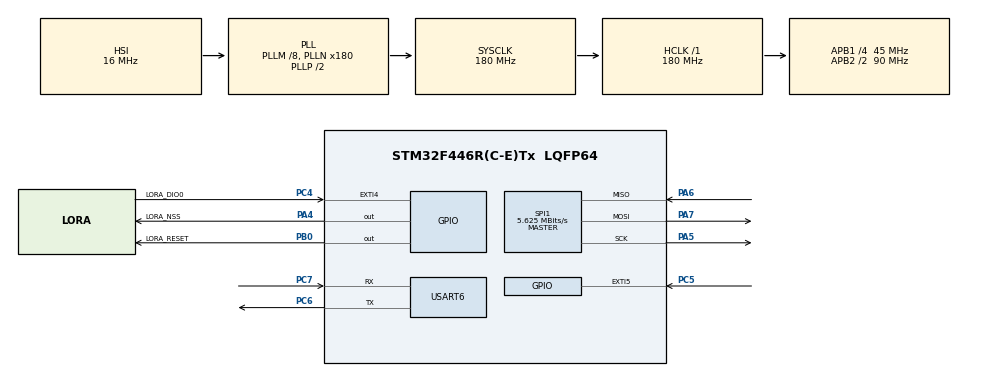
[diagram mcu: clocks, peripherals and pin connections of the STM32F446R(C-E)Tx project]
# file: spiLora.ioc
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Mcu.Family=STM32F4
Mcu.Name=STM32F446R(C-E)Tx
Mcu.Package=LQFP64
NVIC.EXTI4_IRQn=true\:0\:0\:false\:false\:true\:true\:true\:true
NVIC.EXTI9_5_IRQn=true\:0\:0\:false\:false\:true\:true\:true\:true
NVIC.PriorityGroup=NVIC_PRIORITYGROUP_4
PA13.Mode=Serial_Wire
PA13.Signal=SYS_JTMS-SWDIO
PA14.Mode=Serial_Wire
PA14.Signal=SYS_JTCK-SWCLK
PA4.GPIO_Label=LORA_NSS
PA4.Signal=GPIO_Output
PA5.Mode=Full_Duplex_Master
PA5.Signal=SPI1_SCK
PA6.Mode=Full_Duplex_Master
PA6.Signal=SPI1_MISO
PA7.Mode=Full_Duplex_Master
PA7.Signal=SPI1_MOSI
PB0.GPIO_Label=LORA_RESET
PB0.Signal=GPIO_Output
PC4.GPIO_Label=LORA_DIO0
PC4.Signal=GPXTI4
PC5.Signal=GPXTI5
PC6.Mode=Asynchronous
PC6.Signal=USART6_TX
PC7.Mode=Asynchronous
PC7.Signal=USART6_RX
PH0-OSC_IN.Mode=HSE-External-Oscillator
PH0-OSC_IN.Signal=RCC_OSC_IN
PH1-OSC_OUT.Mode=HSE-External-Oscillator
PH1-OSC_OUT.Signal=RCC_OSC_OUT
ProjectManager.HeapSize=0x200
ProjectManager.StackSize=0x400
ProjectManager.TargetToolchain=STM32CubeIDE
RCC.AHBFreq_Value=180000000
RCC.APB1CLKDivider=RCC_HCLK_DIV4
RCC.APB1Freq_Value=45000000
RCC.APB1TimFreq_Value=90000000
RCC.APB2CLKDivider=RCC_HCLK_DIV2
RCC.APB2Freq_Value=90000000
RCC.APB2TimFreq_Value=180000000
RCC.CortexFreq_Value=180000000
RCC.HCLKFreq_Value=180000000
RCC.HSE_VALUE=8000000
RCC.PLLM=8
RCC.PLLN=180
RCC.PLLQ=3
RCC.SYSCLKFreq_VALUE=180000000
RCC.SYSCLKSource=RCC_SYSCLKSOURCE_PLLCLK
RCC.USBFreq_Value=120000000
RCC.VCOOutputFreq_Value=360000000
SPI1.BaudRatePrescaler=SPI_BAUDRATEPRESCALER_16
SPI1.CalculateBaudRate=5.625 MBits/s
SPI1.Direction=SPI_DIRECTION_2LINES
SPI1.Mode=SPI_MODE_MASTER
SPI1.VirtualType=VM_MASTER
USART6.VirtualMode=VM_ASYNC
board=custom

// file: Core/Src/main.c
/* USER CODE BEGIN Header */
/**
  ******************************************************************************
  * @file           : main.c
  * @brief          : Main program body
  ******************************************************************************
  * @attention
  *
  * Copyright (c) 2025 STMicroelectronics.
  * All rights reserved.
  *
  * This software is licensed under terms that can be found in the LICENSE file
  * in the root directory of this software component.
  * If no LICENSE file comes with this software, it is provided AS-IS.
  *
  ******************************************************************************
  */
/* USER CODE END Header */
#include "main.h"

/* USER CODE BEGIN Includes */
#include <stdio.h>  // sprintf için gerekli
#include <string.h> // strlen için gerekli
/* USER CODE END Includes */

SPI_HandleTypeDef hspi1;

UART_HandleTypeDef huart6;

/* USER CODE BEGIN PV */

char tx_buffer[256];

/* USER CODE END PV */

void SystemClock_Config(void);
static void MX_GPIO_Init(void);
static void MX_SPI1_Init(void);
static void MX_USART6_UART_Init(void);

/* USER CODE BEGIN 0 */

/* Private variables ---------------------------------------------------------*/
SPI_HandleTypeDef hspi1;

/* USER CODE BEGIN PV */
// Bu satır, projenin başka yerlerinde tanımlanan SPI1 yapılandırmasını
// bu dosyada kullanabilmemizi sağlar. CubeIDE bunu otomatik oluşturur.
extern SPI_HandleTypeDef hspi1;
/* USER CODE END PV */

/* Private defines -----------------------------------------------------------*/
/* USER CODE BEGIN PD */
// Bu tanımlamalar, RFM98W modülünün (içindeki SX1278 çipi) datasheet'inden alınmıştır.
// Karmaşık register adreslerini ezberlemek yerine onlara isim vererek kod okunabilirliğini artırırız.

// RFM98W Register Adresleri
#define REG_VERSION              0x42 // Versiyon bilgisi için
#define REG_OP_MODE              0x01 // Çalışma modunu ayarlamak için
#define REG_FRF_MSB              0x06 // Frekans ayarı (En anlamlı byte)
#define REG_FRF_MID              0x07 // Frekans ayarı (Orta byte)
#define REG_FRF_LSB              0x08 // Frekans ayarı (En anlamsız byte)
#define REG_DIO_MAPPING_1        0x40 // DIO pinlerinin görevlerini atamak için

// RFM98W Çalışma Modları
#define MODE_SLEEP               0x80 // Uyku modu (LoRa modunda)
#define MODE_STDBY               0x81 // Bekleme modu (LoRa modunda)
#define MODE_TX                  0x83 // Gönderme modu (LoRa modunda)
#define MODE_RX_CONTINUOUS       0x85 // Sürekli dinleme modu (LoRa modunda)

// Sadece Alıcı (Receiver) için Gerekli Register'lar
#define REG_RX_NB_BYTES          0x13 // Alınan paketteki byte sayısını tutar
#define REG_FIFO_RX_CURRENT_ADDR 0x10 // Alınan son paketin FIFO'daki başlangıç adresini tutar
#define REG_PKT_SNR_VALUE        0x19 // Sinyal-Gürültü Oranı
#define REG_PKT_RSSI_VALUE       0x1A // Sinyal Gücü

#define REG_FIFO_ADDR_PTR 0x0D
#define REG_FIFO_RX_CURRENT_ADDR 0x10
#define REG_FIFO 0x00
#define REG_IRQ_FLAGS            0x12

// Tablo 3.35'e göre 60 byte'lık Telemetri Veri Paketi Yapısı
typedef struct __attribute__((packed)) {
    uint16_t packet_number;            // 2 byte
    uint8_t  flight_state;             // 1 byte

    // OBC Verileri
    int16_t  obc_roll;                 // 2 byte
    int16_t  obc_pitch;                // 2 byte
    int16_t  obc_yaw;                  // 2 byte
    uint8_t  obc_abs_acceleration;     // 1 byte
    uint8_t  obc_max_abs_acceleration; // 1 byte
    uint8_t  obc_pressure;             // 1 byte
    int16_t  obc_vertical_velocity;    // 2 byte
    int16_t  obc_altitude;             // 2 byte
    int16_t  obc_max_altitude;         // 2 byte
    int8_t   obc_temperature;          // 1 byte

    // BPC Verileri
    int16_t  bpc_roll;                 // 2 byte
    int16_t  bpc_pitch;                // 2 byte
    int16_t  bpc_yaw;                  // 2 byte
    uint8_t  bpc_abs_acceleration;     // 1 byte
    uint8_t  bpc_max_abs_acceleration; // 1 byte
    uint8_t  bpc_pressure;             // 1 byte
    int16_t  bpc_vertical_velocity;    // 2 byte
    int16_t  bpc_altitude;             // 2 byte
    int16_t  bpc_max_altitude;         // 2 byte

    // DAQ Verileri
    uint16_t daq_pressure_1;           // 2 byte
    uint16_t daq_pressure_2;           // 2 byte
    int16_t  daq_temperature;          // 2 byte

    // PRC Verileri
    int16_t  prc_current;              // 2 byte
    int16_t  prc_voltage;              // 2 byte

    // GPS ve Sistem Zamanı
    uint32_t system_time;              // 4 byte
    float    latitude;                 // 4 byte
    float    longitude;                // 4 byte
    uint32_t gps_utc_time;             // 4 byte
} TelemetryPacket_t;

volatile uint8_t rx_done_flag = 0;

TelemetryPacket_t received_data;

void RFM98_Reset()
{
  // Reset pinini 1ms boyunca LOW'a çek
  HAL_GPIO_WritePin(LORA_RESET_GPIO_Port, LORA_RESET_Pin, GPIO_PIN_RESET);
  HAL_Delay(1);
  // Reset pinini HIGH'a çekerek modülün normal çalışmasına izin ver
  HAL_GPIO_WritePin(LORA_RESET_GPIO_Port, LORA_RESET_Pin, GPIO_PIN_SET);
  HAL_Delay(5); // Modülün kendine gelmesi için kısa bir bekleme
}

void RFM98_Write(uint8_t address, uint8_t value)
{
  // Yazma işlemi için adresin en anlamlı bitini (MSB) 1 yapmamız gerekiyor.
  // Bu, SX1278 datasheet'inde belirtilen bir kuraldır.
  uint8_t write_address = address | 0x80;

  // 1. NSS pinini LOW'a çekerek LoRa modülüyle haberleşmeyi başlat.
  HAL_GPIO_WritePin(LORA_NSS_GPIO_Port, LORA_NSS_Pin, GPIO_PIN_RESET);

  // 2. Önce yazılacak register'ın adresini gönder.
  HAL_SPI_Transmit(&hspi1, &write_address, 1, HAL_MAX_DELAY);

  // 3. Sonra o adrese yazılacak veriyi gönder.
  HAL_SPI_Transmit(&hspi1, &value, 1, HAL_MAX_DELAY);

  // 4. NSS pinini HIGH'a çekerek haberleşmeyi sonlandır.
  HAL_GPIO_WritePin(LORA_NSS_GPIO_Port, LORA_NSS_Pin, GPIO_PIN_SET);
}

uint8_t RFM98_Read(uint8_t address)
{
  // Okuma işlemi için adresin en anlamlı bitini (MSB) 0 yapmamız gerekiyor.
  // Bu, SX1278 datasheet'inde belirtilen bir kuraldır.
  uint8_t read_address = address & 0x7F;
  uint8_t received_data;

  // 1. NSS pinini LOW'a çekerek LoRa modülüyle haberleşmeyi başlat.
  HAL_GPIO_WritePin(LORA_NSS_GPIO_Port, LORA_NSS_Pin, GPIO_PIN_RESET);

  // 2. Önce okunacak register'ın adresini gönder.
  HAL_SPI_Transmit(&hspi1, &read_address, 1, HAL_MAX_DELAY);

  // 3. Veriyi okumak için STM32'den anlamsız bir veri (0x00) gönderilir.
  //    Bu gönderim sırasında MISO hattından gelen veri okunur.
  HAL_SPI_Receive(&hspi1, &received_data, 1, HAL_MAX_DELAY);

  // 4. NSS pinini HIGH'a çekerek haberleşmeyi sonlandır.
  HAL_GPIO_WritePin(LORA_NSS_GPIO_Port, LORA_NSS_Pin, GPIO_PIN_SET);

  return received_data;
}

uint8_t LoRa_Init()
{
  // Modülü resetle
  RFM98_Reset();

  // 1. İletişimi doğrula: Versiyon numarasını kontrol et
  if (RFM98_Read(REG_VERSION) != 0x12)
  {
    return 0; // Hata: Modül bulunamadı veya SPI çalışmıyor
  }

  // 2. Modülü yapılandırmak için ayarları YAZmaya başla

  // Ayarları değiştirebilmek için önce Uyku (Sleep) moduna al.
  // Bu bir datasheet kuralıdır: LoRa modu ayarları sadece uyku modunda değiştirilebilir.
  RFM98_Write(REG_OP_MODE, MODE_SLEEP);
  HAL_Delay(10); // Modun değişmesi için kısa bir bekleme

  // Frekansı ayarla (Örnek: 868 MHz)
  // Bu hex değerleri datasheet'teki formülle hesaplanır: Freq = F_STEP * Değer
  // F_STEP = 32MHz / 2^19 ≈ 61.035 Hz
  // Frekansı 433 MHz'e ayarla
  // Hesaplama: 433,000,000 / 61.035 ≈ 7094272 = 0x6C8000
  RFM98_Write(REG_FRF_MSB, 0x6C); // 433 MHz için MSB
  RFM98_Write(REG_FRF_MID, 0x80); // 433 MHz için MID
  RFM98_Write(REG_FRF_LSB, 0x00); // 433 MHz için LSB
  // Diğer temel ayarlar... (Şimdilik standart değerleri kullanabiliriz)
  // - Çıkış gücü: +17dBm
  // - Spreading Factor: 7, Bandwidth: 125kHz (En yaygın ayarlardan biri)
  // - CRC Aktif
  RFM98_Write(0x09, 0xFF); // RegPaConfig -> PA_BOOST, MaxPower, OutputPower
  RFM98_Write(0x1D, 0x72); // RegModemConfig1 -> BW=125kHz, CR=4/5
  RFM98_Write(0x1E, 0x74); // RegModemConfig2 -> SF=7, CRC On
  RFM98_Write(0x26, 0x04); // RegModemConfig3 -> AgcAutoOn

  RFM98_Write(REG_DIO_MAPPING_1,  0x00);

  // Ayarları bitirdikten sonra, bir sonraki komuta hazır olması için Bekleme (Standby) moduna al.
  RFM98_Write(REG_OP_MODE, MODE_STDBY);
  HAL_Delay(10);

  return 1; // Başlatma başarılı
}

/**
  * @brief  Verilen metin mesajını LoRa ile gönderir.
  * @param  message: Gönderilecek karakter dizisi (string).
  */

void LoRa_ReceiveMode()
{
  // DIO0 pinini RxDone kesmesi için ayarla (Init fonksiyonunda zaten yapıldı)
  // RFM98_Write(REG_DIO_MAPPING_1, 0x00);

  // Modülü Sürekli Alım moduna geçir
  RFM98_Write(REG_OP_MODE, MODE_RX_CONTINUOUS);
}

void LoRa_ReadPacket()
{
  // 1. Alınan paketin boyutunu kontrol et
  uint8_t packet_size = RFM98_Read(REG_RX_NB_BYTES);
  if (packet_size != sizeof(TelemetryPacket_t))
  {
      // Hatalı boyutta paket geldi, işlemi iptal et
      return;
  }

  // 2. FIFO okuma başlangıç adresini al
  uint8_t current_fifo_addr = RFM98_Read(REG_FIFO_RX_CURRENT_ADDR);

  // 3. FIFO işaretçisini bu adrese ayarla
  RFM98_Write(REG_FIFO_ADDR_PTR, current_fifo_addr);

  // 4. FIFO'dan veriyi byte byte oku ve struct'a kopyala
  uint8_t* data_ptr = (uint8_t*)&received_data;
  for (int i = 0; i < packet_size; i++)
  {
      data_ptr[i] = RFM98_Read(REG_FIFO);
  }
}

/* USER CODE END 0 */

int main(void)
{

  /* MCU Configuration--------------------------------------------------------*/

  /* Reset of all peripherals, Initializes the Flash interface and the Systick. */
  HAL_Init();

  /* Configure the system clock */
  SystemClock_Config();

  /* Initialize all configured peripherals */
  MX_GPIO_Init();
  MX_SPI1_Init();
  MX_USART6_UART_Init();
  /* USER CODE BEGIN 2 */

  // LoRa modülünü başlat
  if (LoRa_Init() == 0)
  {
    // Hata durumunda terminale mesaj gönder
    int len = sprintf(tx_buffer, "HATA: LoRa modülü başlatılamadı!\r\n");
    HAL_UART_Transmit(&huart6, (uint8_t*)tx_buffer, len, HAL_MAX_DELAY);
    while(1); // Hata durumunda burada bekle
  }

  // Terminale başlangıç mesajı gönderelim
  int len = sprintf(tx_buffer, "LoRa Alıcı Başlatıldı. Veri bekleniyor...\r\n");
  HAL_UART_Transmit(&huart6, (uint8_t*)tx_buffer, len, HAL_MAX_DELAY);

  // LoRa'yı dinleme moduna al
  LoRa_ReceiveMode();

  /* USER CODE END 2 */

  /* Infinite loop */
  while (1)
  {
    /* USER CODE BEGIN 3 */

    // Bir paket geldi mi diye kontrol et
    if (rx_done_flag)
    {
      // Bayrağı hemen sıfırla ki aynı paketi tekrar işlemeyelim
      rx_done_flag = 0;

      // 1. Gelen verileri sprintf ile buffer'a yazdır
      int message_len = 0;
      message_len += sprintf(tx_buffer + message_len, "--- YENI PAKET ALINDI ---\r\n");
      message_len += sprintf(tx_buffer + message_len, "Paket No: %u\r\n", received_data.packet_number);
      message_len += sprintf(tx_buffer + message_len, "Uçuş Durumu: %u\r\n", received_data.flight_state);
      message_len += sprintf(tx_buffer + message_len, "PRC Voltaj: %.2f V\r\n", received_data.prc_voltage / 100.0);
      message_len += sprintf(tx_buffer + message_len, "Enlem: %f\r\n", received_data.latitude);
      message_len += sprintf(tx_buffer + message_len, "-------------------------\r\n\r\n");

      // 2. Dolu olan buffer'ı tek seferde UART üzerinden gönder
      HAL_UART_Transmit(&huart6, (uint8_t*)tx_buffer, message_len, HAL_MAX_DELAY);

      // 3. Bir sonraki paketi almak için tekrar dinleme moduna geç
      LoRa_ReceiveMode();
    }
    // Bayrak 1 değilse, işlemci burada bekleyebilir veya başka işler yapabilir.

  }
  /* USER CODE END 3 */
}

void SystemClock_Config(void)
{
  RCC_OscInitTypeDef RCC_OscInitStruct = {0};
  RCC_ClkInitTypeDef RCC_ClkInitStruct = {0};

  /** Configure the main internal regulator output voltage
  */
  __HAL_RCC_PWR_CLK_ENABLE();
  __HAL_PWR_VOLTAGESCALING_CONFIG(PWR_REGULATOR_VOLTAGE_SCALE1);

  /** Initializes the RCC Oscillators according to the specified parameters
  * in the RCC_OscInitTypeDef structure.
  */
  RCC_OscInitStruct.OscillatorType = RCC_OSCILLATORTYPE_HSI;
  RCC_OscInitStruct.HSIState = RCC_HSI_ON;
  RCC_OscInitStruct.HSICalibrationValue = RCC_HSICALIBRATION_DEFAULT;
  RCC_OscInitStruct.PLL.PLLState = RCC_PLL_ON;
  RCC_OscInitStruct.PLL.PLLSource = RCC_PLLSOURCE_HSI;
  RCC_OscInitStruct.PLL.PLLM = 8;
  RCC_OscInitStruct.PLL.PLLN = 180;
  RCC_OscInitStruct.PLL.PLLP = RCC_PLLP_DIV2;
  RCC_OscInitStruct.PLL.PLLQ = 3;
  RCC_OscInitStruct.PLL.PLLR = 2;
  if (HAL_RCC_OscConfig(&RCC_OscInitStruct) != HAL_OK)
  {
    Error_Handler();
  }

  /** Activate the Over-Drive mode
  */
  if (HAL_PWREx_EnableOverDrive() != HAL_OK)
  {
    Error_Handler();
  }

  /** Initializes the CPU, AHB and APB buses clocks
  */
  RCC_ClkInitStruct.ClockType = RCC_CLOCKTYPE_HCLK|RCC_CLOCKTYPE_SYSCLK
                              |RCC_CLOCKTYPE_PCLK1|RCC_CLOCKTYPE_PCLK2;
  RCC_ClkInitStruct.SYSCLKSource = RCC_SYSCLKSOURCE_PLLCLK;
  RCC_ClkInitStruct.AHBCLKDivider = RCC_SYSCLK_DIV1;
  RCC_ClkInitStruct.APB1CLKDivider = RCC_HCLK_DIV4;
  RCC_ClkInitStruct.APB2CLKDivider = RCC_HCLK_DIV2;

  if (HAL_RCC_ClockConfig(&RCC_ClkInitStruct, FLASH_LATENCY_5) != HAL_OK)
  {
    Error_Handler();
  }
}

static void MX_SPI1_Init(void)
{

  /* SPI1 parameter configuration*/
  hspi1.Instance = SPI1;
  hspi1.Init.Mode = SPI_MODE_MASTER;
  hspi1.Init.Direction = SPI_DIRECTION_2LINES;
  hspi1.Init.DataSize = SPI_DATASIZE_8BIT;
  hspi1.Init.CLKPolarity = SPI_POLARITY_LOW;
  hspi1.Init.CLKPhase = SPI_PHASE_1EDGE;
  hspi1.Init.NSS = SPI_NSS_SOFT;
  hspi1.Init.BaudRatePrescaler = SPI_BAUDRATEPRESCALER_16;
  hspi1.Init.FirstBit = SPI_FIRSTBIT_MSB;
  hspi1.Init.TIMode = SPI_TIMODE_DISABLE;
  hspi1.Init.CRCCalculation = SPI_CRCCALCULATION_DISABLE;
  hspi1.Init.CRCPolynomial = 10;
  if (HAL_SPI_Init(&hspi1) != HAL_OK)
  {
    Error_Handler();
  }

}

static void MX_USART6_UART_Init(void)
{

  huart6.Instance = USART6;
  huart6.Init.BaudRate = 115200;
  huart6.Init.WordLength = UART_WORDLENGTH_8B;
  huart6.Init.StopBits = UART_STOPBITS_1;
  huart6.Init.Parity = UART_PARITY_NONE;
  huart6.Init.Mode = UART_MODE_TX_RX;
  huart6.Init.HwFlowCtl = UART_HWCONTROL_NONE;
  huart6.Init.OverSampling = UART_OVERSAMPLING_16;
  if (HAL_UART_Init(&huart6) != HAL_OK)
  {
    Error_Handler();
  }

}

static void MX_GPIO_Init(void)
{
  GPIO_InitTypeDef GPIO_InitStruct = {0};

  /* GPIO Ports Clock Enable */
  __HAL_RCC_GPIOH_CLK_ENABLE();
  __HAL_RCC_GPIOA_CLK_ENABLE();
  __HAL_RCC_GPIOC_CLK_ENABLE();
  __HAL_RCC_GPIOB_CLK_ENABLE();

  /*Configure GPIO pin Output Level */
  HAL_GPIO_WritePin(LORA_NSS_GPIO_Port, LORA_NSS_Pin, GPIO_PIN_RESET);

  /*Configure GPIO pin Output Level */
  HAL_GPIO_WritePin(LORA_RESET_GPIO_Port, LORA_RESET_Pin, GPIO_PIN_RESET);

  /*Configure GPIO pin : LORA_NSS_Pin */
  GPIO_InitStruct.Pin = LORA_NSS_Pin;
  GPIO_InitStruct.Mode = GPIO_MODE_OUTPUT_PP;
  GPIO_InitStruct.Pull = GPIO_NOPULL;
  GPIO_InitStruct.Speed = GPIO_SPEED_FREQ_LOW;
  HAL_GPIO_Init(LORA_NSS_GPIO_Port, &GPIO_InitStruct);

  /*Configure GPIO pins : LORA_DIO0_Pin PC5 */
  GPIO_InitStruct.Pin = LORA_DIO0_Pin|GPIO_PIN_5;
  GPIO_InitStruct.Mode = GPIO_MODE_IT_RISING;
  GPIO_InitStruct.Pull = GPIO_NOPULL;
  HAL_GPIO_Init(GPIOC, &GPIO_InitStruct);

  /*Configure GPIO pin : LORA_RESET_Pin */
  GPIO_InitStruct.Pin = LORA_RESET_Pin;
  GPIO_InitStruct.Mode = GPIO_MODE_OUTPUT_PP;
  GPIO_InitStruct.Pull = GPIO_NOPULL;
  GPIO_InitStruct.Speed = GPIO_SPEED_FREQ_LOW;
  HAL_GPIO_Init(LORA_RESET_GPIO_Port, &GPIO_InitStruct);

  /* EXTI interrupt init*/
  HAL_NVIC_SetPriority(EXTI4_IRQn, 0, 0);
  HAL_NVIC_EnableIRQ(EXTI4_IRQn);

  HAL_NVIC_SetPriority(EXTI9_5_IRQn, 0, 0);
  HAL_NVIC_EnableIRQ(EXTI9_5_IRQn);

}

/* USER CODE BEGIN 4 */

void HAL_GPIO_EXTI_Callback(uint16_t GPIO_Pin)
{
  if (GPIO_Pin == LORA_DIO0_Pin)
  {
    // RxDone kesmesi geldiğini ana döngüye bildir
    rx_done_flag = 1;

    // Gelen veriyi FIFO'dan oku
    LoRa_ReadPacket();

    // LoRa modülünün içindeki IRQ bayraklarını temizle
    RFM98_Write(REG_IRQ_FLAGS, 0xFF);
  }
}

/* USER CODE END 4 */

void Error_Handler(void)
{
  __disable_irq();
  while (1)
  {
  }
}
